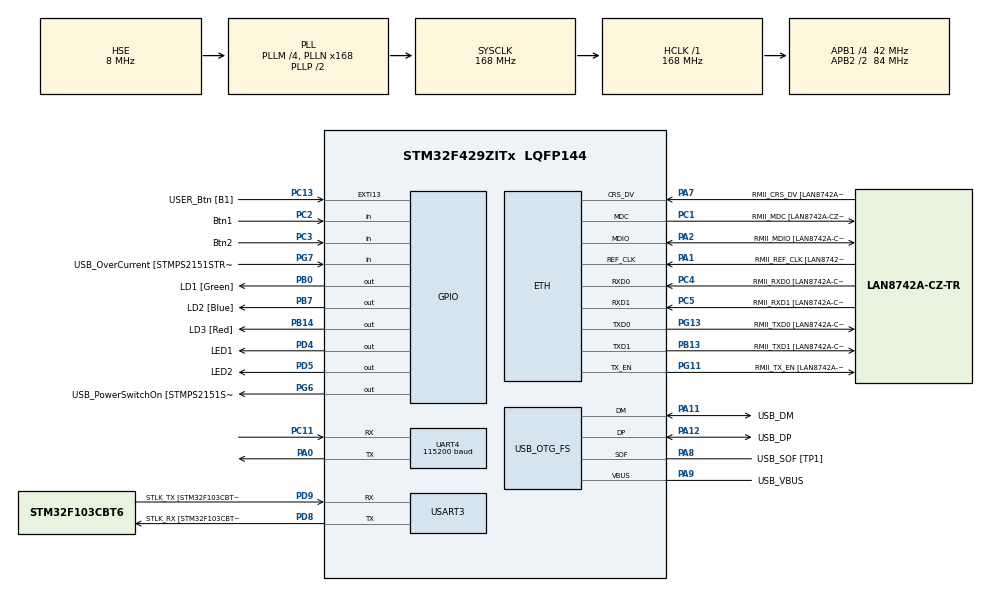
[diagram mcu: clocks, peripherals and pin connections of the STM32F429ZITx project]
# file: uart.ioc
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Dma.Request0=UART4_RX
Dma.Request1=UART4_TX
Dma.UART4_RX.0.Direction=DMA_PERIPH_TO_MEMORY
Dma.UART4_RX.0.FIFOMode=DMA_FIFOMODE_DISABLE
Dma.UART4_RX.0.Instance=DMA1_Stream2
Dma.UART4_RX.0.MemDataAlignment=DMA_MDATAALIGN_BYTE
Dma.UART4_RX.0.MemInc=DMA_MINC_ENABLE
Dma.UART4_RX.0.Mode=DMA_NORMAL
Dma.UART4_RX.0.PeriphDataAlignment=DMA_PDATAALIGN_BYTE
Dma.UART4_RX.0.PeriphInc=DMA_PINC_DISABLE
Dma.UART4_RX.0.Priority=DMA_PRIORITY_LOW
Dma.UART4_TX.1.Direction=DMA_MEMORY_TO_PERIPH
Dma.UART4_TX.1.FIFOMode=DMA_FIFOMODE_DISABLE
Dma.UART4_TX.1.Instance=DMA1_Stream4
Dma.UART4_TX.1.MemDataAlignment=DMA_MDATAALIGN_BYTE
Dma.UART4_TX.1.MemInc=DMA_MINC_ENABLE
Dma.UART4_TX.1.Mode=DMA_NORMAL
Dma.UART4_TX.1.PeriphDataAlignment=DMA_PDATAALIGN_BYTE
Dma.UART4_TX.1.PeriphInc=DMA_PINC_DISABLE
Dma.UART4_TX.1.Priority=DMA_PRIORITY_LOW
ETH.MediaInterface=HAL_ETH_RMII_MODE
ETH.PHY_Name=LAN8742A_PHY_ADDRESS
ETH.PHY_Value=0
ETH.PhyAddress=0
FREERTOS.BinarySemaphores01=myBinarySem01,Dynamic,NULL
FREERTOS.Queues01=RxQueue,16,uint16_t,0,Static,RxQueueBuffer,RxQueueControlBlock;TxQueue,16,uint16_t,0,Static,TxQueueBuffer,TxQueueControlBlock
FREERTOS.Tasks01=defaultTask,0,128,StartDefaultTask,Default,NULL,Dynamic,NULL,NULL;LED1Task,-2,128,StartLED1Task,Default,NULL,Static,LED1TaskBuffer,LED1TaskControlBlock;LED2Task,-2,128,StartLED2Task,Default,NULL,Static,LED2TaskBuffer,LED2TaskControlBlock;Btn1Task,-2,128,StartBtn1Task,Default,NULL,Static,Btn1TaskBuffer,Btn1TaskControlBlock;Btn2Task,-2,128,StartBtn2Task,Default,NULL,Static,Btn2TaskBuffer,Btn2TaskControlBlock;UartTask,-2,128,StartUartTask,Default,NULL,Static,UartTaskBuffer,UartTaskControlBlock
FREERTOS.configUSE_NEWLIB_REENTRANT=1
Mcu.Family=STM32F4
Mcu.Name=STM32F429ZITx
Mcu.Package=LQFP144
NVIC.DMA1_Stream2_IRQn=true\:5\:0\:false\:false\:true\:true\:false\:true\:true
NVIC.DMA1_Stream4_IRQn=true\:5\:0\:false\:false\:true\:true\:false\:true\:true
NVIC.EXTI15_10_IRQn=true\:5\:0\:false\:false\:true\:true\:true\:true\:true
NVIC.PriorityGroup=NVIC_PRIORITYGROUP_4
NVIC.TIM1_UP_TIM10_IRQn=true\:5\:0\:false\:false\:true\:true\:true\:true\:true
NVIC.TIM8_TRG_COM_TIM14_IRQn=true\:15\:0\:false\:false\:true\:false\:false\:true\:true
NVIC.TimeBase=TIM8_TRG_COM_TIM14_IRQn
NVIC.TimeBaseIP=TIM14
NVIC.UART4_IRQn=true\:5\:0\:false\:false\:true\:true\:true\:true\:true
PA0/WKUP.Mode=Asynchronous
PA0/WKUP.Signal=UART4_TX
PA1.GPIO_Label=RMII_REF_CLK [LAN8742A-CZ-TR_REFCLK0]
PA1.Mode=RMII
PA1.Signal=ETH_REF_CLK
PA10.GPIO_Label=USB_ID
PA10.Signal=USB_OTG_FS_ID
PA11.GPIO_Label=USB_DM
PA11.Mode=Device_Only
PA11.Signal=USB_OTG_FS_DM
PA12.GPIO_Label=USB_DP
PA12.Mode=Device_Only
PA12.Signal=USB_OTG_FS_DP
PA13.GPIO_Label=TMS
PA13.Mode=Serial_Wire
PA13.Signal=SYS_JTMS-SWDIO
PA14.GPIO_Label=TCK
PA14.Mode=Serial_Wire
PA14.Signal=SYS_JTCK-SWCLK
PA2.GPIO_Label=RMII_MDIO [LAN8742A-CZ-TR_MDIO]
PA2.Mode=RMII
PA2.Signal=ETH_MDIO
PA7.GPIO_Label=RMII_CRS_DV [LAN8742A-CZ-TR_CRS_DV]
PA7.Mode=RMII
PA7.Signal=ETH_CRS_DV
PA8.GPIO_Label=USB_SOF [TP1]
PA8.Mode=Activate_SOF_FS
PA8.Signal=USB_OTG_FS_SOF
PA9.GPIO_Label=USB_VBUS
PA9.Mode=Activate_VBUS
PA9.Signal=USB_OTG_FS_VBUS
PB0.GPIO_Label=LD1 [Green]
PB0.Signal=GPIO_Output
PB13.GPIO_Label=RMII_TXD1 [LAN8742A-CZ-TR_TXD1]
PB13.Mode=RMII
PB13.Signal=ETH_TXD1
PB14.GPIO_Label=LD3 [Red]
PB14.Signal=GPIO_Output
PB7.GPIO_Label=LD2 [Blue]
PB7.Signal=GPIO_Output
PC1.GPIO_Label=RMII_MDC [LAN8742A-CZ-TR_MDC]
PC1.Mode=RMII
PC1.Signal=ETH_MDC
PC11.Mode=Asynchronous
PC11.Signal=UART4_RX
PC13.GPIO_Label=USER_Btn [B1]
PC13.Signal=GPXTI13
PC14/OSC32_IN.Mode=LSE-External-Oscillator
PC14/OSC32_IN.Signal=RCC_OSC32_IN
PC15/OSC32_OUT.Mode=LSE-External-Oscillator
PC15/OSC32_OUT.Signal=RCC_OSC32_OUT
PC2.GPIO_Label=Btn1
PC2.GPIO_PuPd=GPIO_PULLUP
PC2.Signal=GPIO_Input
PC3.GPIO_Label=Btn2
PC3.GPIO_PuPd=GPIO_PULLUP
PC3.Signal=GPIO_Input
PC4.GPIO_Label=RMII_RXD0 [LAN8742A-CZ-TR_RXD0]
PC4.Mode=RMII
PC4.Signal=ETH_RXD0
PC5.GPIO_Label=RMII_RXD1 [LAN8742A-CZ-TR_RXD1]
PC5.Mode=RMII
PC5.Signal=ETH_RXD1
PD4.GPIO_Label=LED1
PD4.GPIO_PuPd=GPIO_NOPULL
PD4.Signal=GPIO_Output
PD5.GPIO_Label=LED2
PD5.GPIO_ModeDefaultOutputPP=GPIO_MODE_OUTPUT_PP
PD5.GPIO_PuPd=GPIO_NOPULL
PD5.Signal=GPIO_Output
PD8.GPIO_Label=STLK_RX [STM32F103CBT6_PA3]
PD8.Mode=Asynchronous
PD8.Signal=USART3_TX
PD9.GPIO_Label=STLK_TX [STM32F103CBT6_PA2]
PD9.Mode=Asynchronous
PD9.Signal=USART3_RX
PG11.GPIO_Label=RMII_TX_EN [LAN8742A-CZ-TR_TXEN]
PG11.Mode=RMII
PG11.Signal=ETH_TX_EN
PG13.GPIO_Label=RMII_TXD0 [LAN8742A-CZ-TR_TXD0]
PG13.Mode=RMII
PG13.Signal=ETH_TXD0
PG6.GPIO_Label=USB_PowerSwitchOn [STMPS2151STR_EN]
PG6.Signal=GPIO_Output
PG7.GPIO_Label=USB_OverCurrent [STMPS2151STR_FAULT]
PG7.Signal=GPIO_Input
PH0/OSC_IN.GPIO_Label=MCO [STM32F103CBT6_PA8]
PH0/OSC_IN.Mode=HSE-External-Clock-Source
PH0/OSC_IN.Signal=RCC_OSC_IN
PH1/OSC_OUT.Mode=HSE-External-Clock-Source
PH1/OSC_OUT.Signal=RCC_OSC_OUT
ProjectManager.HeapSize=0x200
ProjectManager.StackSize=0x400
ProjectManager.TargetToolchain=STM32CubeIDE
RCC.48MHZClocksFreq_Value=48000000
RCC.AHBFreq_Value=168000000
RCC.APB1CLKDivider=RCC_HCLK_DIV4
RCC.APB1Freq_Value=42000000
RCC.APB1TimFreq_Value=84000000
RCC.APB2CLKDivider=RCC_HCLK_DIV2
RCC.APB2Freq_Value=84000000
RCC.APB2TimCLKDivider=2
RCC.APB2TimFreq_Value=168000000
RCC.CortexFreq_Value=168000000
RCC.HCLKFreq_Value=168000000
RCC.HSE_VALUE=8000000
RCC.HSI_VALUE=16000000
RCC.PLLM=4
RCC.PLLMUL=RCC_PLL_MUL9
RCC.PLLN=168
RCC.PLLQ=7
RCC.PRESCALERUSB=RCC_USBCLKSOURCE_PLL_DIV1_5
RCC.SYSCLKFreq_VALUE=168000000
RCC.SYSCLKSource=RCC_SYSCLKSOURCE_PLLCLK
RCC.SYSCLKSourceVirtual=RCC_SYSCLKSOURCE_PLLCLK
RCC.USBFreq_Value=48000000
RCC.VCOOutputFreq_Value=336000000
TIM1.Period=1000
TIM1.Prescaler=167
UART4.BaudRate=115200
UART4.VirtualMode=Asynchronous
USART3.VirtualMode=VM_ASYNC
USB_OTG_FS.VirtualMode=Device_Only
VP_FREERTOS_VS_CMSIS_V1.Mode=CMSIS_V1
VP_SYS_VS_tim14.Mode=TIM14
VP_TIM1_VS_ClockSourceINT.Mode=Internal
board=NUCLEO-F429ZI

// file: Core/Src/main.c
/* USER CODE BEGIN Header */
/**
  ******************************************************************************
  * @file           : main.c
  * @brief          : Main program body
  ******************************************************************************
  * @attention
  *
  * Copyright (c) 2024 STMicroelectronics.
  * All rights reserved.
  *
  * This software is licensed under terms that can be found in the LICENSE file
  * in the root directory of this software component.
  * If no LICENSE file comes with this software, it is provided AS-IS.
  *
  ******************************************************************************
  */
/* USER CODE END Header */
#include "main.h"
#include "string.h"
#include "cmsis_os.h"

/* USER CODE BEGIN Includes */
#include "usart_ring.h"
#include "button.h"
#include "semphr.h"
/* USER CODE END Includes */

/* USER CODE BEGIN PTD */
char buff[20] = {0,};

/* USER CODE END PTD */

ETH_TxPacketConfig TxConfig;
ETH_DMADescTypeDef  DMARxDscrTab[ETH_RX_DESC_CNT]; /* Ethernet Rx DMA Descriptors */
ETH_DMADescTypeDef  DMATxDscrTab[ETH_TX_DESC_CNT]; /* Ethernet Tx DMA Descriptors */

ETH_HandleTypeDef heth;

TIM_HandleTypeDef htim1;

UART_HandleTypeDef huart4;
UART_HandleTypeDef huart3;
DMA_HandleTypeDef hdma_uart4_rx;
DMA_HandleTypeDef hdma_uart4_tx;

PCD_HandleTypeDef hpcd_USB_OTG_FS;

osThreadId defaultTaskHandle;
osThreadId LED1TaskHandle;
uint32_t LED1TaskBuffer[ 128 ];
osStaticThreadDef_t LED1TaskControlBlock;
osThreadId LED2TaskHandle;
uint32_t LED2TaskBuffer[ 128 ];
osStaticThreadDef_t LED2TaskControlBlock;
osThreadId Btn1TaskHandle;
uint32_t Btn1TaskBuffer[ 128 ];
osStaticThreadDef_t Btn1TaskControlBlock;
osThreadId Btn2TaskHandle;
uint32_t Btn2TaskBuffer[ 128 ];
osStaticThreadDef_t Btn2TaskControlBlock;
osThreadId UartTaskHandle;
uint32_t UartTaskBuffer[ 128 ];
osStaticThreadDef_t UartTaskControlBlock;
osMessageQId RxQueueHandle;
uint8_t RxQueueBuffer[ 16 * sizeof( uint16_t ) ];
osStaticMessageQDef_t RxQueueControlBlock;
osMessageQId TxQueueHandle;
uint8_t TxQueueBuffer[ 16 * sizeof( uint16_t ) ];
osStaticMessageQDef_t TxQueueControlBlock;
osSemaphoreId myBinarySem01Handle;

void SystemClock_Config(void);
static void MX_GPIO_Init(void);
static void MX_DMA_Init(void);
static void MX_ETH_Init(void);
static void MX_UART4_Init(void);
static void MX_USART3_UART_Init(void);
static void MX_USB_OTG_FS_PCD_Init(void);
static void MX_TIM1_Init(void);
void StartDefaultTask(void const * argument);
void StartLED1Task(void const * argument);
void StartLED2Task(void const * argument);
void StartBtn1Task(void const * argument);
void StartBtn2Task(void const * argument);
void StartUartTask(void const * argument);

int main(void)
{

  /* MCU Configuration--------------------------------------------------------*/

  /* Reset of all peripherals, Initializes the Flash interface and the Systick. */
  HAL_Init();

  /* Configure the system clock */
  SystemClock_Config();

  /* Initialize all configured peripherals */
  MX_GPIO_Init();
  MX_DMA_Init();
  MX_ETH_Init();
  MX_UART4_Init();
  MX_USART3_UART_Init();
  MX_USB_OTG_FS_PCD_Init();
  MX_TIM1_Init();
  /* USER CODE BEGIN 2 */
	HAL_TIM_Base_Start_IT(&htim1);
	__HAL_UART_ENABLE_IT(&MYUART, UART_IT_RXNE); // включить прерывания usart'a

  /* USER CODE END 2 */

  /* Create the semaphores(s) */
  /* definition and creation of myBinarySem01 */
  osSemaphoreDef(myBinarySem01);
  myBinarySem01Handle = osSemaphoreCreate(osSemaphore(myBinarySem01), 1);

  /* Create the queue(s) */
  /* definition and creation of RxQueue */
  osMessageQStaticDef(RxQueue, 16, uint16_t, RxQueueBuffer, &RxQueueControlBlock);
  RxQueueHandle = osMessageCreate(osMessageQ(RxQueue), NULL);

  /* definition and creation of TxQueue */
  osMessageQStaticDef(TxQueue, 16, uint16_t, TxQueueBuffer, &TxQueueControlBlock);
  TxQueueHandle = osMessageCreate(osMessageQ(TxQueue), NULL);

  /* Create the thread(s) */
  /* definition and creation of defaultTask */
  osThreadDef(defaultTask, StartDefaultTask, osPriorityNormal, 0, 128);
  defaultTaskHandle = osThreadCreate(osThread(defaultTask), NULL);

  /* definition and creation of LED1Task */
  osThreadStaticDef(LED1Task, StartLED1Task, osPriorityLow, 0, 128, LED1TaskBuffer, &LED1TaskControlBlock);
  LED1TaskHandle = osThreadCreate(osThread(LED1Task), NULL);

  /* definition and creation of LED2Task */
  osThreadStaticDef(LED2Task, StartLED2Task, osPriorityLow, 0, 128, LED2TaskBuffer, &LED2TaskControlBlock);
  LED2TaskHandle = osThreadCreate(osThread(LED2Task), NULL);

  /* definition and creation of Btn1Task */
  osThreadStaticDef(Btn1Task, StartBtn1Task, osPriorityLow, 0, 128, Btn1TaskBuffer, &Btn1TaskControlBlock);
  Btn1TaskHandle = osThreadCreate(osThread(Btn1Task), NULL);

  /* definition and creation of Btn2Task */
  osThreadStaticDef(Btn2Task, StartBtn2Task, osPriorityLow, 0, 128, Btn2TaskBuffer, &Btn2TaskControlBlock);
  Btn2TaskHandle = osThreadCreate(osThread(Btn2Task), NULL);

  /* definition and creation of UartTask */
  osThreadStaticDef(UartTask, StartUartTask, osPriorityLow, 0, 128, UartTaskBuffer, &UartTaskControlBlock);
  UartTaskHandle = osThreadCreate(osThread(UartTask), NULL);

  /* Start scheduler */
  osKernelStart();

  /* We should never get here as control is now taken by the scheduler */
  /* Infinite loop */
  /* USER CODE BEGIN WHILE */
  while (1)
  {
	  uart_receive();

    /* USER CODE END WHILE */

  }
}

void SystemClock_Config(void)
{
  RCC_OscInitTypeDef RCC_OscInitStruct = {0};
  RCC_ClkInitTypeDef RCC_ClkInitStruct = {0};

  /** Configure the main internal regulator output voltage
  */
  __HAL_RCC_PWR_CLK_ENABLE();
  __HAL_PWR_VOLTAGESCALING_CONFIG(PWR_REGULATOR_VOLTAGE_SCALE1);

  /** Initializes the RCC Oscillators according to the specified parameters
  * in the RCC_OscInitTypeDef structure.
  */
  RCC_OscInitStruct.OscillatorType = RCC_OSCILLATORTYPE_HSE;
  RCC_OscInitStruct.HSEState = RCC_HSE_BYPASS;
  RCC_OscInitStruct.PLL.PLLState = RCC_PLL_ON;
  RCC_OscInitStruct.PLL.PLLSource = RCC_PLLSOURCE_HSE;
  RCC_OscInitStruct.PLL.PLLM = 4;
  RCC_OscInitStruct.PLL.PLLN = 168;
  RCC_OscInitStruct.PLL.PLLP = RCC_PLLP_DIV2;
  RCC_OscInitStruct.PLL.PLLQ = 7;
  if (HAL_RCC_OscConfig(&RCC_OscInitStruct) != HAL_OK)
  {
    Error_Handler();
  }

  /** Initializes the CPU, AHB and APB buses clocks
  */
  RCC_ClkInitStruct.ClockType = RCC_CLOCKTYPE_HCLK|RCC_CLOCKTYPE_SYSCLK
                              |RCC_CLOCKTYPE_PCLK1|RCC_CLOCKTYPE_PCLK2;
  RCC_ClkInitStruct.SYSCLKSource = RCC_SYSCLKSOURCE_PLLCLK;
  RCC_ClkInitStruct.AHBCLKDivider = RCC_SYSCLK_DIV1;
  RCC_ClkInitStruct.APB1CLKDivider = RCC_HCLK_DIV4;
  RCC_ClkInitStruct.APB2CLKDivider = RCC_HCLK_DIV2;

  if (HAL_RCC_ClockConfig(&RCC_ClkInitStruct, FLASH_LATENCY_5) != HAL_OK)
  {
    Error_Handler();
  }
}

static void MX_ETH_Init(void)
{

   static uint8_t MACAddr[6];

  heth.Instance = ETH;
  MACAddr[0] = 0x00;
  MACAddr[1] = 0x80;
  MACAddr[2] = 0xE1;
  MACAddr[3] = 0x00;
  MACAddr[4] = 0x00;
  MACAddr[5] = 0x00;
  heth.Init.MACAddr = &MACAddr[0];
  heth.Init.MediaInterface = HAL_ETH_RMII_MODE;
  heth.Init.TxDesc = DMATxDscrTab;
  heth.Init.RxDesc = DMARxDscrTab;
  heth.Init.RxBuffLen = 1524;

  if (HAL_ETH_Init(&heth) != HAL_OK)
  {
    Error_Handler();
  }

  memset(&TxConfig, 0 , sizeof(ETH_TxPacketConfig));
  TxConfig.Attributes = ETH_TX_PACKETS_FEATURES_CSUM | ETH_TX_PACKETS_FEATURES_CRCPAD;
  TxConfig.ChecksumCtrl = ETH_CHECKSUM_IPHDR_PAYLOAD_INSERT_PHDR_CALC;
  TxConfig.CRCPadCtrl = ETH_CRC_PAD_INSERT;

}

static void MX_TIM1_Init(void)
{

  TIM_ClockConfigTypeDef sClockSourceConfig = {0};
  TIM_MasterConfigTypeDef sMasterConfig = {0};

  htim1.Instance = TIM1;
  htim1.Init.Prescaler = 167;
  htim1.Init.CounterMode = TIM_COUNTERMODE_UP;
  htim1.Init.Period = 1000;
  htim1.Init.ClockDivision = TIM_CLOCKDIVISION_DIV1;
  htim1.Init.RepetitionCounter = 0;
  htim1.Init.AutoReloadPreload = TIM_AUTORELOAD_PRELOAD_DISABLE;
  if (HAL_TIM_Base_Init(&htim1) != HAL_OK)
  {
    Error_Handler();
  }
  sClockSourceConfig.ClockSource = TIM_CLOCKSOURCE_INTERNAL;
  if (HAL_TIM_ConfigClockSource(&htim1, &sClockSourceConfig) != HAL_OK)
  {
    Error_Handler();
  }
  sMasterConfig.MasterOutputTrigger = TIM_TRGO_RESET;
  sMasterConfig.MasterSlaveMode = TIM_MASTERSLAVEMODE_DISABLE;
  if (HAL_TIMEx_MasterConfigSynchronization(&htim1, &sMasterConfig) != HAL_OK)
  {
    Error_Handler();
  }

}

static void MX_UART4_Init(void)
{

  huart4.Instance = UART4;
  huart4.Init.BaudRate = 115200;
  huart4.Init.WordLength = UART_WORDLENGTH_8B;
  huart4.Init.StopBits = UART_STOPBITS_1;
  huart4.Init.Parity = UART_PARITY_NONE;
  huart4.Init.Mode = UART_MODE_TX_RX;
  huart4.Init.HwFlowCtl = UART_HWCONTROL_NONE;
  huart4.Init.OverSampling = UART_OVERSAMPLING_16;
  if (HAL_UART_Init(&huart4) != HAL_OK)
  {
    Error_Handler();
  }

}

static void MX_USART3_UART_Init(void)
{

  huart3.Instance = USART3;
  huart3.Init.BaudRate = 115200;
  huart3.Init.WordLength = UART_WORDLENGTH_8B;
  huart3.Init.StopBits = UART_STOPBITS_1;
  huart3.Init.Parity = UART_PARITY_NONE;
  huart3.Init.Mode = UART_MODE_TX_RX;
  huart3.Init.HwFlowCtl = UART_HWCONTROL_NONE;
  huart3.Init.OverSampling = UART_OVERSAMPLING_16;
  if (HAL_UART_Init(&huart3) != HAL_OK)
  {
    Error_Handler();
  }

}

static void MX_USB_OTG_FS_PCD_Init(void)
{

  hpcd_USB_OTG_FS.Instance = USB_OTG_FS;
  hpcd_USB_OTG_FS.Init.dev_endpoints = 4;
  hpcd_USB_OTG_FS.Init.speed = PCD_SPEED_FULL;
  hpcd_USB_OTG_FS.Init.dma_enable = DISABLE;
  hpcd_USB_OTG_FS.Init.phy_itface = PCD_PHY_EMBEDDED;
  hpcd_USB_OTG_FS.Init.Sof_enable = ENABLE;
  hpcd_USB_OTG_FS.Init.low_power_enable = DISABLE;
  hpcd_USB_OTG_FS.Init.lpm_enable = DISABLE;
  hpcd_USB_OTG_FS.Init.vbus_sensing_enable = ENABLE;
  hpcd_USB_OTG_FS.Init.use_dedicated_ep1 = DISABLE;
  if (HAL_PCD_Init(&hpcd_USB_OTG_FS) != HAL_OK)
  {
    Error_Handler();
  }

}

static void MX_DMA_Init(void)
{

  /* DMA controller clock enable */
  __HAL_RCC_DMA1_CLK_ENABLE();

  /* DMA interrupt init */
  /* DMA1_Stream2_IRQn interrupt configuration */
  HAL_NVIC_SetPriority(DMA1_Stream2_IRQn, 5, 0);
  HAL_NVIC_EnableIRQ(DMA1_Stream2_IRQn);
  /* DMA1_Stream4_IRQn interrupt configuration */
  HAL_NVIC_SetPriority(DMA1_Stream4_IRQn, 5, 0);
  HAL_NVIC_EnableIRQ(DMA1_Stream4_IRQn);

}

static void MX_GPIO_Init(void)
{
  GPIO_InitTypeDef GPIO_InitStruct = {0};

  /* GPIO Ports Clock Enable */
  __HAL_RCC_GPIOC_CLK_ENABLE();
  __HAL_RCC_GPIOH_CLK_ENABLE();
  __HAL_RCC_GPIOA_CLK_ENABLE();
  __HAL_RCC_GPIOB_CLK_ENABLE();
  __HAL_RCC_GPIOD_CLK_ENABLE();
  __HAL_RCC_GPIOG_CLK_ENABLE();

  /*Configure GPIO pin Output Level */
  HAL_GPIO_WritePin(GPIOB, LD1_Pin|LD3_Pin|LD2_Pin, GPIO_PIN_RESET);

  /*Configure GPIO pin Output Level */
  HAL_GPIO_WritePin(USB_PowerSwitchOn_GPIO_Port, USB_PowerSwitchOn_Pin, GPIO_PIN_RESET);

  /*Configure GPIO pin Output Level */
  HAL_GPIO_WritePin(GPIOD, LED1_Pin|LED2_Pin, GPIO_PIN_RESET);

  /*Configure GPIO pin : USER_Btn_Pin */
  GPIO_InitStruct.Pin = USER_Btn_Pin;
  GPIO_InitStruct.Mode = GPIO_MODE_IT_RISING;
  GPIO_InitStruct.Pull = GPIO_NOPULL;
  HAL_GPIO_Init(USER_Btn_GPIO_Port, &GPIO_InitStruct);

  /*Configure GPIO pins : Btn1_Pin Btn2_Pin */
  GPIO_InitStruct.Pin = Btn1_Pin|Btn2_Pin;
  GPIO_InitStruct.Mode = GPIO_MODE_INPUT;
  GPIO_InitStruct.Pull = GPIO_PULLUP;
  HAL_GPIO_Init(GPIOC, &GPIO_InitStruct);

  /*Configure GPIO pins : LD1_Pin LD3_Pin LD2_Pin */
  GPIO_InitStruct.Pin = LD1_Pin|LD3_Pin|LD2_Pin;
  GPIO_InitStruct.Mode = GPIO_MODE_OUTPUT_PP;
  GPIO_InitStruct.Pull = GPIO_NOPULL;
  GPIO_InitStruct.Speed = GPIO_SPEED_FREQ_LOW;
  HAL_GPIO_Init(GPIOB, &GPIO_InitStruct);

  /*Configure GPIO pin : USB_PowerSwitchOn_Pin */
  GPIO_InitStruct.Pin = USB_PowerSwitchOn_Pin;
  GPIO_InitStruct.Mode = GPIO_MODE_OUTPUT_PP;
  GPIO_InitStruct.Pull = GPIO_NOPULL;
  GPIO_InitStruct.Speed = GPIO_SPEED_FREQ_LOW;
  HAL_GPIO_Init(USB_PowerSwitchOn_GPIO_Port, &GPIO_InitStruct);

  /*Configure GPIO pin : USB_OverCurrent_Pin */
  GPIO_InitStruct.Pin = USB_OverCurrent_Pin;
  GPIO_InitStruct.Mode = GPIO_MODE_INPUT;
  GPIO_InitStruct.Pull = GPIO_NOPULL;
  HAL_GPIO_Init(USB_OverCurrent_GPIO_Port, &GPIO_InitStruct);

  /*Configure GPIO pins : LED1_Pin LED2_Pin */
  GPIO_InitStruct.Pin = LED1_Pin|LED2_Pin;
  GPIO_InitStruct.Mode = GPIO_MODE_OUTPUT_PP;
  GPIO_InitStruct.Pull = GPIO_NOPULL;
  GPIO_InitStruct.Speed = GPIO_SPEED_FREQ_LOW;
  HAL_GPIO_Init(GPIOD, &GPIO_InitStruct);

  /* EXTI interrupt init*/
  HAL_NVIC_SetPriority(EXTI15_10_IRQn, 5, 0);
  HAL_NVIC_EnableIRQ(EXTI15_10_IRQn);

}

/* USER CODE BEGIN 4 */
/*void HAL_GPIO_EXTI_Callback(uint16_t GPIO_Pin)
{
	if (GPIO_Pin == Btn1_Pin)
	{
		//BaseType_t xHigherPriorityTaskWoken;
		//xHigherPriorityTaskWoken = pdFALSE;
		//xSemaphoreGiveFromISR(myBinarySem01Handle, &xHigherPriorityTaskWoken);
		//portYIELD_FROM_ISR(xHigherPriorityTaskWoken);
	}

}*/
/* USER CODE END 4 */

void StartDefaultTask(void const * argument)
{
  for(;;)
  {
    osDelay(1);
  }
}

void StartLED1Task(void const * argument)
{
  /* USER CODE BEGIN StartLED1Task */
  /* Infinite loop */
  for(;;)
  {
	  xSemaphoreTake(myBinarySem01Handle, portMAX_DELAY);
	  HAL_GPIO_TogglePin(LED1_GPIO_Port, LED1_Pin);
    osDelay(1);
  }
  /* USER CODE END StartLED1Task */
}

void StartLED2Task(void const * argument)
{
  for(;;)
  {
    osDelay(1);
  }
}

void StartBtn1Task(void const * argument)
{
  /* USER CODE BEGIN StartBtn1Task */
  /* Infinite loop */
  for(;;)
  {
	  BUTTON_Process();
	  if (BUTTON_GetAction(BUTTON_DOWN) == BUTTON_SHORT_PRESS)
	  {
		  // LED on
		  HAL_GPIO_TogglePin(LED2_GPIO_Port, LED2_Pin);
	  }
	  if (BUTTON_GetAction(BUTTON_DOWN) == BUTTON_LONG_PRESS)
	  {
		  // LED on
		  for (int i = 0; i < 10; i++)
		  {
			  HAL_GPIO_TogglePin(LED2_GPIO_Port, LED2_Pin);
			  HAL_Delay(100);
		  }

	  }
	  BUTTON_ResetActions();
    osDelay(1);
  }
  /* USER CODE END StartBtn1Task */
}

void StartBtn2Task(void const * argument)
{
  /* USER CODE BEGIN StartBtn2Task */
  /* Infinite loop */
  for(;;)
  {
	  BUTTON_Process();
	  if (BUTTON_GetAction(BUTTON_UP) == BUTTON_SHORT_PRESS)
	  {
		  // LED on
		  xSemaphoreGive(myBinarySem01Handle);
		  //HAL_GPIO_TogglePin(LED2_GPIO_Port, LED2_Pin);
	  }
	  BUTTON_ResetActions();

    osDelay(1);
  }
  /* USER CODE END StartBtn2Task */
}

void StartUartTask(void const * argument)
{
  for(;;)
  {
    osDelay(1);
  }
}

void HAL_TIM_PeriodElapsedCallback(TIM_HandleTypeDef *htim)
{
  if (htim->Instance == TIM14) {
    HAL_IncTick();
  }
}

void Error_Handler(void)
{
  __disable_irq();
  while (1)
  {
  }
}
